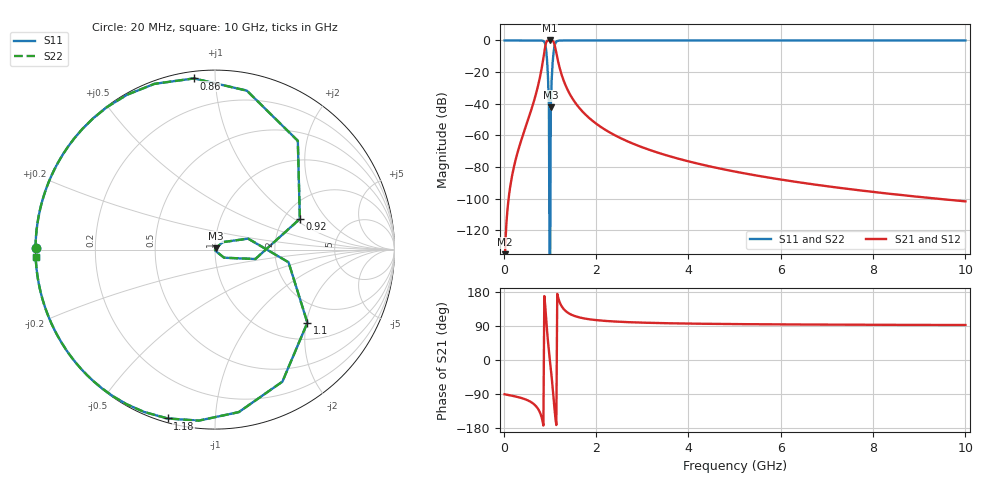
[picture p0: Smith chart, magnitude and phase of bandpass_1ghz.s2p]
! third-order maximally flat band-pass, 1 GHz, 20 % bandwidth (bandpass_1ghz.py)
# Hz S RI R 50
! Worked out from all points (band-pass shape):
!   500 points, 20 MHz to 10 GHz, reference 50 ohm
!   highest |S21| = 0.00 dB at 1 GHz (marker M1); lowest = -143.9 dB at 20 MHz (marker M2)
!   |S21| within 3 dB of the highest: 906.2 MHz to 1.104 GHz (198.2 MHz wide, 19.7 % of centre)
!   lowest |S11| = -42.2 dB at 1.02 GHz (marker M3), VSWR 1.02, Z = 50.3 + j0.72 ohm
!   |S11| at or under -10 dB: 931.9 MHz to 1.073 GHz (140.9 MHz wide, 14.1 % of centre)
!   |S22| runs from - to 0.0 dB; largest |S21 - S12| = 6.2e-14
!   S11 on the Smith chart (normalised r, x): 20 MHz: 0.00, +0.00; 860 MHz: 0.04, +0.88; 920 MHz: 2.43, +1.11; 1.1 GHz: 1.42, -2.03; 1.18 GHz: 0.02, -0.76; 10 GHz: 0.00, -0.02
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2e7  -1 0.008  -5.13e-10 -6.41e-08  -5.13e-10 -6.41e-08  -1 0.008
2.4e8  -0.9948 0.1017  -1.34e-05 -0.000131  -1.34e-05 -0.000131  -0.9948 0.1017
7e8  -0.8489 0.5281  -0.0109 -0.0176  -0.0109 -0.0176  -0.8489 0.5281
8e8  -0.6003 0.795  -0.0698 -0.0527  -0.0698 -0.0527  -0.6003 0.795
8.6e8  -0.1177 0.9537  -0.2748 -0.0339  -0.2748 -0.0339  -0.1177 0.9537
9.2e8  0.4728 0.1711  -0.2942 0.8128  -0.2942 0.8128  0.4728 0.1711
9.4e8  0.2249 -0.0524  0.2209 0.9476  0.2209 0.9476  0.2249 -0.0524
9.6e8  0.0507 -0.0452  0.6635 0.7451  0.6635 0.7451  0.0507 -0.0452
1e9  -1.58e-31 1.26e-15  1 1.25e-16  1 1.25e-16  -1.58e-31 1.26e-15
1.02e9  0.00302 0.00716  0.9215 -0.3883  0.9215 -0.3883  0.00302 0.00716
1.04e9  0.0436 0.0416  0.6897 -0.7216  0.6897 -0.7216  0.0436 0.0416
1.06e9  0.1846 0.0611  0.3081 -0.9313  0.3081 -0.9313  0.1846 0.0611
1.1e9  0.5147 -0.4072  -0.4682 -0.5917  -0.4682 -0.5917  0.5147 -0.4072
1.18e9  -0.2641 -0.9408  -0.2047 0.0574  -0.2047 0.0574  -0.2641 -0.9408
1.34e9  -0.7719 -0.6346  -0.0243 0.0295  -0.0243 0.0295  -0.7719 -0.6346
1.7e9  -0.9352 -0.354  -0.00206 0.00544  -0.00206 0.00544  -0.9352 -0.354
2.36e9  -0.9787 -0.2055  -0.000226 0.00108  -0.000226 0.00108  -0.9787 -0.2055
3.36e9  -0.9915 -0.1303  -3.63e-05 0.000276  -3.63e-05 0.000276  -0.9915 -0.1303
5.02e9  -0.9966 -0.0829  -5.92e-06 7.12e-05  -5.92e-06 7.12e-05  -0.9966 -0.0829
6.68e9  -0.9981 -0.0612  -1.76e-06 2.87e-05  -1.76e-06 2.87e-05  -0.9981 -0.0612
8.34e9  -0.9988 -0.0486  -7.01e-07 1.44e-05  -7.01e-07 1.44e-05  -0.9988 -0.0486
1e10  -0.9992 -0.0404  -3.33e-07 8.24e-06  -3.33e-07 8.24e-06  -0.9992 -0.0404
